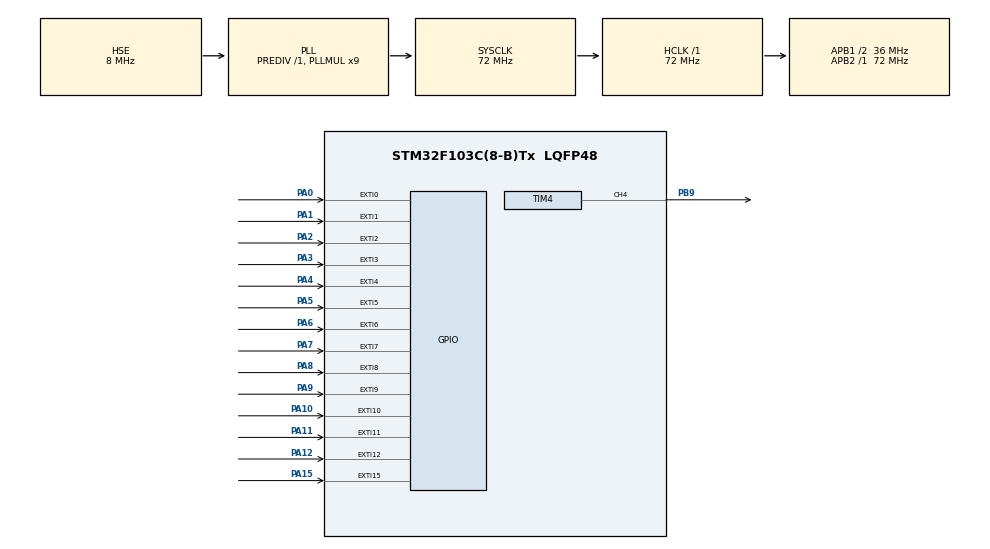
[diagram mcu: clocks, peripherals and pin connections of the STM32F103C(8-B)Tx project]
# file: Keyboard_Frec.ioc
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Mcu.Family=STM32F1
Mcu.Name=STM32F103C(8-B)Tx
Mcu.Package=LQFP48
NVIC.EXTI0_IRQn=true\:0\:0\:false\:false\:true\:true\:true\:true
NVIC.EXTI15_10_IRQn=true\:0\:0\:false\:false\:true\:true\:true\:true
NVIC.EXTI1_IRQn=true\:0\:0\:false\:false\:true\:true\:true\:true
NVIC.EXTI2_IRQn=true\:0\:0\:false\:false\:true\:true\:true\:true
NVIC.EXTI3_IRQn=true\:0\:0\:false\:false\:true\:true\:true\:true
NVIC.EXTI4_IRQn=true\:0\:0\:false\:false\:true\:true\:true\:true
NVIC.EXTI9_5_IRQn=true\:0\:0\:false\:false\:true\:true\:true\:true
NVIC.PriorityGroup=NVIC_PRIORITYGROUP_4
PA0-WKUP.GPIO_ModeDefaultEXTI=GPIO_MODE_IT_RISING_FALLING
PA0-WKUP.GPIO_PuPd=GPIO_PULLUP
PA0-WKUP.Signal=GPXTI0
PA1.GPIO_ModeDefaultEXTI=GPIO_MODE_IT_RISING_FALLING
PA1.GPIO_PuPd=GPIO_PULLUP
PA1.Signal=GPXTI1
PA10.GPIO_ModeDefaultEXTI=GPIO_MODE_IT_RISING_FALLING
PA10.GPIO_PuPd=GPIO_PULLUP
PA10.Signal=GPXTI10
PA11.GPIO_ModeDefaultEXTI=GPIO_MODE_IT_RISING_FALLING
PA11.GPIO_PuPd=GPIO_PULLUP
PA11.Signal=GPXTI11
PA12.Signal=GPXTI12
PA13.Mode=Serial_Wire
PA13.Signal=SYS_JTMS-SWDIO
PA14.Mode=Serial_Wire
PA14.Signal=SYS_JTCK-SWCLK
PA15.Signal=GPXTI15
PA2.GPIO_ModeDefaultEXTI=GPIO_MODE_IT_RISING_FALLING
PA2.GPIO_PuPd=GPIO_PULLUP
PA2.Signal=GPXTI2
PA3.GPIO_ModeDefaultEXTI=GPIO_MODE_IT_RISING_FALLING
PA3.GPIO_PuPd=GPIO_PULLUP
PA3.Signal=GPXTI3
PA4.GPIO_ModeDefaultEXTI=GPIO_MODE_IT_RISING_FALLING
PA4.GPIO_PuPd=GPIO_PULLUP
PA4.Signal=GPXTI4
PA5.GPIO_ModeDefaultEXTI=GPIO_MODE_IT_RISING_FALLING
PA5.GPIO_PuPd=GPIO_PULLUP
PA5.Signal=GPXTI5
PA6.GPIO_ModeDefaultEXTI=GPIO_MODE_IT_RISING_FALLING
PA6.GPIO_PuPd=GPIO_PULLUP
PA6.Signal=GPXTI6
PA7.GPIO_ModeDefaultEXTI=GPIO_MODE_IT_RISING_FALLING
PA7.GPIO_PuPd=GPIO_PULLUP
PA7.Signal=GPXTI7
PA8.GPIO_ModeDefaultEXTI=GPIO_MODE_IT_RISING_FALLING
PA8.GPIO_PuPd=GPIO_PULLUP
PA8.Signal=GPXTI8
PA9.GPIO_ModeDefaultEXTI=GPIO_MODE_IT_RISING_FALLING
PA9.GPIO_PuPd=GPIO_PULLUP
PA9.Signal=GPXTI9
PB9.Signal=S_TIM4_CH4
PD0-OSC_IN.Mode=HSE-External-Oscillator
PD0-OSC_IN.Signal=RCC_OSC_IN
PD1-OSC_OUT.Mode=HSE-External-Oscillator
PD1-OSC_OUT.Signal=RCC_OSC_OUT
ProjectManager.HeapSize=0x200
ProjectManager.StackSize=0x800
ProjectManager.TargetToolchain=STM32CubeIDE
RCC.AHBFreq_Value=72000000
RCC.APB1CLKDivider=RCC_HCLK_DIV2
RCC.APB1Freq_Value=36000000
RCC.APB1TimFreq_Value=72000000
RCC.APB2Freq_Value=72000000
RCC.APB2TimFreq_Value=72000000
RCC.HCLKFreq_Value=72000000
RCC.HSICalibrationValue=8
RCC.PLLMUL=RCC_PLL_MUL9
RCC.PLLSourceVirtual=RCC_PLLSOURCE_HSE
RCC.SYSCLKFreq_VALUE=72000000
RCC.SYSCLKSource=RCC_SYSCLKSOURCE_PLLCLK
RCC.USBFreq_Value=72000000
SH.S_TIM4_CH4.0=TIM4_CH4,PWM Generation4 CH4
TIM4.Channel-PWM\ Generation4\ CH4=TIM_CHANNEL_4
TIM4.Period=1000-1
TIM4.Prescaler=72-1
TIM4.Pulse-PWM\ Generation4\ CH4=0
board=custom

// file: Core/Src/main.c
/* USER CODE BEGIN Header */
/**
  ******************************************************************************
  * @file           : main.c
  * @brief          : Main program body
  ******************************************************************************
  * @attention
  *
  * Copyright (c) 2026 STMicroelectronics.
  * All rights reserved.
  *
  * This software is licensed under terms that can be found in the LICENSE file
  * in the root directory of this software component.
  * If no LICENSE file comes with this software, it is provided AS-IS.
  *
  ******************************************************************************
  */
/* USER CODE END Header */
#include "main.h"
#include "tim.h"
#include "gpio.h"

/* USER CODE BEGIN Includes */

#include <stdio.h>
#include "stm32_adafruit_lcd.h"

#include "lcd.h"

#define DEBOUNCE_TIME_MS 50

/* USER CODE END Includes */

/* USER CODE BEGIN PTD */

// Структура для хранения состояния кнопок
typedef struct {
    uint8_t current_state;
    uint8_t previous_state;
    uint32_t last_debounce_time;
    uint8_t stable_state;
} ButtonState;

ButtonState buttons[8]; // Для PA0-PA7
volatile uint8_t exti_triggered = 0;
volatile uint8_t exti_port_value = 0;

/* USER CODE END PTD */

void SystemClock_Config(void);
/* USER CODE BEGIN PFP */

void mainApp(void);

/* USER CODE END PFP */

int main(void)
{

  /* MCU Configuration--------------------------------------------------------*/

  /* Reset of all peripherals, Initializes the Flash interface and the Systick. */
  HAL_Init();

  /* Configure the system clock */
  SystemClock_Config();

  /* Initialize all configured peripherals */
  MX_GPIO_Init();
  MX_TIM4_Init();
  /* USER CODE BEGIN 2 */

  HAL_TIM_PWM_Start(&htim4, TIM_CHANNEL_4);

  ili9488_Init();

  /* USER CODE END 2 */

  /* Infinite loop */
  /* USER CODE BEGIN WHILE */
//

	ili9488_FillRect(20, 20, 440, 280, LCD_COLOR_YELLOW);
	 HAL_Delay(500);
//	 BSP_LCD_Clear(LCD_COLOR_YELLOW);

	 BSP_LCD_SetFont(&Font_MY_BG);
	 BSP_LCD_SetTextColor(LCD_COLOR_RED);
	// BSP_LCD_SetBackColor(LCD_COLOR_YELLOW);
	 BSP_LCD_DisplayStringAt(10, 50, (uint8_t*)" ", CENTER_MODE);

  //mainApp();

	while (1) {

	//	ili9488_SetDisplayWindow(20, 20, 480-20, 320-20);

//		__NOP();
    /* USER CODE END WHILE */

    /* USER CODE BEGIN 3 */

//	  HAL_GPIO_WritePin(LED_GPIO_Port, LED_Pin, GPIO_PIN_RESET);
//	  HAL_Delay(500);
//	  HAL_GPIO_WritePin(LED_GPIO_Port, LED_Pin, GPIO_PIN_SET);
//	  HAL_Delay(500);

	//  TIM4->CCR4 = 30;	  HAL_Delay(500);	  TIM4->CCR4 = 70;  HAL_Delay(500);

/*
	  for (int duty = 0; duty <= 99; duty += 10)
	     {
	       __HAL_TIM_SET_COMPARE(&htim4, TIM_CHANNEL_4, duty);  // TIM1->CCR1 = duty;
	       HAL_Delay(500);  // Wait 500ms before changing duty cycle

	     }
	     	     */

  }
  /* USER CODE END 3 */
}

void SystemClock_Config(void)
{
  RCC_OscInitTypeDef RCC_OscInitStruct = {0};
  RCC_ClkInitTypeDef RCC_ClkInitStruct = {0};

  /** Initializes the RCC Oscillators according to the specified parameters
  * in the RCC_OscInitTypeDef structure.
  */
  RCC_OscInitStruct.OscillatorType = RCC_OSCILLATORTYPE_HSE;
  RCC_OscInitStruct.HSEState = RCC_HSE_ON;
  RCC_OscInitStruct.HSEPredivValue = RCC_HSE_PREDIV_DIV1;
  RCC_OscInitStruct.HSIState = RCC_HSI_ON;
  RCC_OscInitStruct.PLL.PLLState = RCC_PLL_ON;
  RCC_OscInitStruct.PLL.PLLSource = RCC_PLLSOURCE_HSE;
  RCC_OscInitStruct.PLL.PLLMUL = RCC_PLL_MUL9;
  if (HAL_RCC_OscConfig(&RCC_OscInitStruct) != HAL_OK)
  {
    Error_Handler();
  }

  /** Initializes the CPU, AHB and APB buses clocks
  */
  RCC_ClkInitStruct.ClockType = RCC_CLOCKTYPE_HCLK|RCC_CLOCKTYPE_SYSCLK
                              |RCC_CLOCKTYPE_PCLK1|RCC_CLOCKTYPE_PCLK2;
  RCC_ClkInitStruct.SYSCLKSource = RCC_SYSCLKSOURCE_PLLCLK;
  RCC_ClkInitStruct.AHBCLKDivider = RCC_SYSCLK_DIV1;
  RCC_ClkInitStruct.APB1CLKDivider = RCC_HCLK_DIV2;
  RCC_ClkInitStruct.APB2CLKDivider = RCC_HCLK_DIV1;

  if (HAL_RCC_ClockConfig(&RCC_ClkInitStruct, FLASH_LATENCY_2) != HAL_OK)
  {
    Error_Handler();
  }
}

/* USER CODE BEGIN 4 */

//----------------------------------------------------------------------------------------------------------------------------------------------------------------------------------
/*
// Инициализация прерываний по внешним линиям
void EXTI_InitConfig(void) {
    EXTI_InitTypeDef EXTI_InitStructure;
    NVIC_InitTypeDef NVIC_InitStructure;

    // Включаем тактирование AFIO
    RCC_APB2PeriphClockCmd(RCC_APB2Periph_AFIO, ENABLE);

    // Настройка PA0-PA7 для прерываний по фронту (нажатие кнопки - низкий уровень)
    GPIO_EXTILineConfig(GPIO_PortSourceGPIOA, GPIO_PinSource0);
    GPIO_EXTILineConfig(GPIO_PortSourceGPIOA, GPIO_PinSource1);
    GPIO_EXTILineConfig(GPIO_PortSourceGPIOA, GPIO_PinSource2);
    GPIO_EXTILineConfig(GPIO_PortSourceGPIOA, GPIO_PinSource3);
    GPIO_EXTILineConfig(GPIO_PortSourceGPIOA, GPIO_PinSource4);
    GPIO_EXTILineConfig(GPIO_PortSourceGPIOA, GPIO_PinSource5);
    GPIO_EXTILineConfig(GPIO_PortSourceGPIOA, GPIO_PinSource6);
    GPIO_EXTILineConfig(GPIO_PortSourceGPIOA, GPIO_PinSource7);

    // Настройка EXTI линий
    EXTI_InitStructure.EXTI_Line = EXTI_Line0 | EXTI_Line1 | EXTI_Line2 | EXTI_Line3 |
                                   EXTI_Line4 | EXTI_Line5 | EXTI_Line6 | EXTI_Line7;
    EXTI_InitStructure.EXTI_Mode = EXTI_Mode_Interrupt;
    EXTI_InitStructure.EXTI_Trigger = EXTI_Trigger_Falling; // Прерывание по спаду
    EXTI_InitStructure.EXTI_LineCmd = ENABLE;
    EXTI_Init(&EXTI_InitStructure);

    // Настройка NVIC для EXTI0
    NVIC_InitStructure.NVIC_IRQChannel = EXTI0_IRQn;
    NVIC_InitStructure.NVIC_IRQChannelPreemptionPriority = 0x0F;
    NVIC_InitStructure.NVIC_IRQChannelSubPriority = 0x0F;
    NVIC_InitStructure.NVIC_IRQChannelCmd = ENABLE;
    NVIC_Init(&NVIC_InitStructure);

    // Настройка NVIC для EXTI1
    NVIC_InitStructure.NVIC_IRQChannel = EXTI1_IRQn;
    NVIC_Init(&NVIC_InitStructure);

    // Настройка NVIC для EXTI2
    NVIC_InitStructure.NVIC_IRQChannel = EXTI2_IRQn;
    NVIC_Init(&NVIC_InitStructure);

    // Настройка NVIC для EXTI3
    NVIC_InitStructure.NVIC_IRQChannel = EXTI3_IRQn;
    NVIC_Init(&NVIC_InitStructure);

    // Настройка NVIC для EXTI4
    NVIC_InitStructure.NVIC_IRQChannel = EXTI4_IRQn;
    NVIC_Init(&NVIC_InitStructure);

    // Настройка NVIC для EXTI9_5 (PA5-PA7)
    NVIC_InitStructure.NVIC_IRQChannel = EXTI9_5_IRQn;
    NVIC_Init(&NVIC_InitStructure);
}
*/

void TIM1_PWM_Init(void) {
    // Включаем тактирование TIM1
    RCC->APB2ENR |= RCC_APB2ENR_TIM1EN;

    // Настройка частоты: 1 кГц при системной частоте 72 МГц
    // Prescaler = 0 (деление на 1)
    TIM1->PSC = 0;

    // ARR определяет период
    // Для 72 МГц и частоты 1 кГц: ARR = 72000 - 1
    TIM1->ARR = 72000 - 1;

    // Начальная скважность 50% (CCR = ARR/2)
    TIM1->CCR2 = 36000;

    // Настройка канала 2
    // OC2M = 110 (PWM mode 1)
    // OC2PE = 1 (preload enable)
    TIM1->CCMR1 &= ~TIM_CCMR1_OC2M;
    TIM1->CCMR1 |= (6 << 12); // PWM mode 1
    TIM1->CCMR1 |= TIM_CCMR1_OC2PE;

    // Включаем выход канала 2 (активный высокий уровень)
    TIM1->CCER |= TIM_CCER_CC2E;
    TIM1->CCER &= ~TIM_CCER_CC2P; // активный высокий уровень

    // Включаем предзагрузку ARR
    TIM1->CR1 |= TIM_CR1_ARPE;

    // Включаем основной выход
    TIM1->BDTR |= TIM_BDTR_MOE;

    // Запускаем таймер
    TIM1->CR1 |= TIM_CR1_CEN;
}

void Set_PWM_DutyCycle(uint16_t duty_percent) {
    // Проверка диапазона
    if (duty_percent > 100) duty_percent = 100;

    // Для TIM4:
    // duty = (ARR * duty_percent) / 100
 //   uint32_t duty_value = (TIM4->ARR * duty_percent) / 100;
  //  TIM4->CCR1 = duty_value;

    // Или для TIM1:
     TIM1->CCR2 = (TIM1->ARR * duty_percent) / 100;
}

void GPIO_Init_PB12(void) {
    // Включаем тактирование порта B
    RCC->APB2ENR |= RCC_APB2ENR_IOPBEN;

    // PB12: альтернативная функция push-pull, максимальная скорость
    GPIOB->CRH &= ~(GPIO_CRH_MODE12 | GPIO_CRH_CNF12);
    GPIOB->CRH |= GPIO_CRH_MODE12_1 | GPIO_CRH_MODE12_0; // 50 MHz
    GPIOB->CRH |= GPIO_CRH_CNF12_1; // Alternate function output push-pull
}

void button_debounced(uint16_t i){
    while( i > 0)
      {i--;}
}

uint8_t read_button_debounced(uint16_t pin) {
    static uint32_t last_time = 0;
    static uint8_t last_state = 1;
    uint8_t current_state;

     current_state = (GPIOA->IDR & pin)? 1 : 0;

 //   current_state = (GPIOA->IDR & GPIO_IDR_IDR0) ? 1 : 0;

    // Если состояние изменилось
    if(current_state != last_state) {
        uint32_t current_time = HAL_GetTick(); // или ваш системный таймер

        // Проверяем, прошло ли достаточно времени
        if((current_time - last_time) > DEBOUNCE_DELAY) {
            last_state = current_state;
            last_time = current_time;
            return current_state;
        }
    }

    return last_state;
}

/* USER CODE END 4 */

void Error_Handler(void)
{
  __disable_irq();
  while (1)
  {
  }
}
